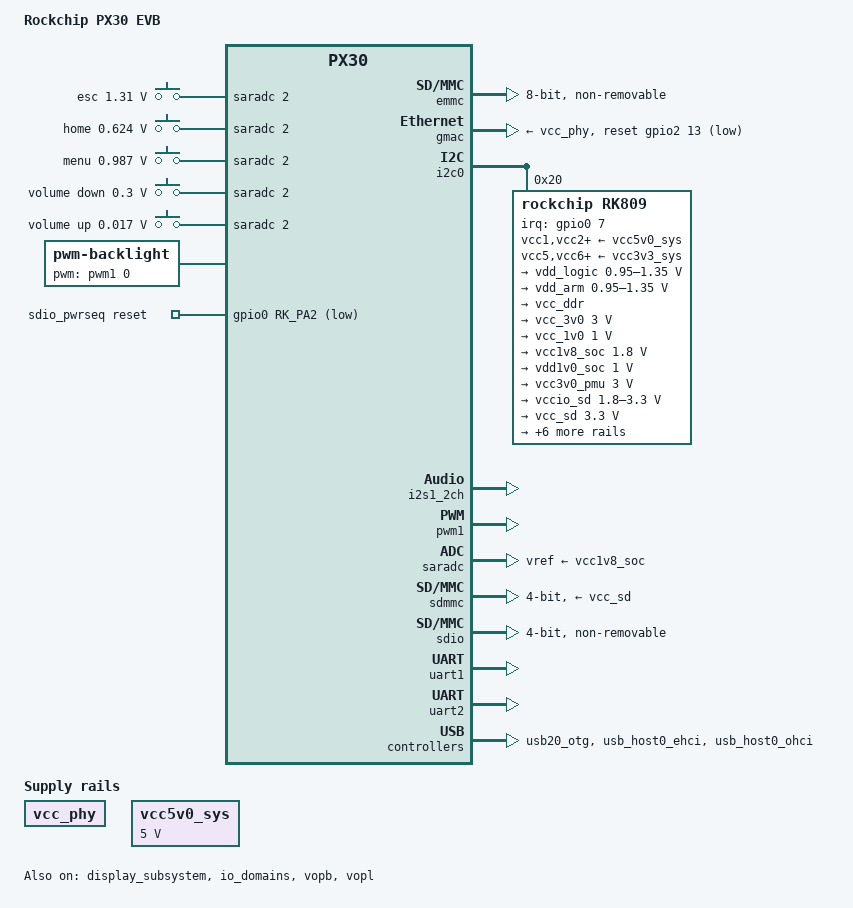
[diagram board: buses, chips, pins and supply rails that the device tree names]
// SPDX-License-Identifier: (GPL-2.0+ OR MIT)
/*
 * Copyright (c) 2018 Fuzhou Rockchip Electronics Co., Ltd
 */

/dts-v1/;
#include <dt-bindings/gpio/gpio.h>
#include <dt-bindings/input/input.h>
#include <dt-bindings/pinctrl/rockchip.h>
#include "px30.dtsi"

/ {
	model = "Rockchip PX30 EVB";
	compatible = "rockchip,px30-evb", "rockchip,px30";

	adc-keys {
		compatible = "adc-keys";
		io-channels = <&saradc 2>;
		io-channel-names = "buttons";
		poll-interval = <100>;
		keyup-threshold-microvolt = <1800000>;

		esc-key {
			linux,code = <KEY_ESC>;
			label = "esc";
			press-threshold-microvolt = <1310000>;
		};

		home-key {
			linux,code = <KEY_HOME>;
			label = "home";
			press-threshold-microvolt = <624000>;
		};

		menu-key {
			linux,code = <KEY_MENU>;
			label = "menu";
			press-threshold-microvolt = <987000>;
		};

		vol-down-key {
			linux,code = <KEY_VOLUMEDOWN>;
			label = "volume down";
			press-threshold-microvolt = <300000>;
		};

		vol-up-key {
			linux,code = <KEY_VOLUMEUP>;
			label = "volume up";
			press-threshold-microvolt = <17000>;
		};
	};

	backlight: backlight {
		compatible = "pwm-backlight";
		pwms = <&pwm1 0 25000 0>;
		brightness-levels = <0 255>;
		num-interpolated-steps = <255>;
		default-brightness-level = <200>;
	};

	chosen {
		bootargs = "console=ttyS2,1500000n8";
	};

	sdio_pwrseq: sdio-pwrseq {
		compatible = "mmc-pwrseq-simple";
		pinctrl-names = "default";
		pinctrl-0 = <&wifi_enable_h>;

		/*
		 * On the module itself this is one of these (depending
		 * on the actual card populated):
		 * - SDIO_RESET_L_WL_REG_ON
		 * - PDN (power down when low)
		 */
		reset-gpios = <&gpio0 RK_PA2 GPIO_ACTIVE_LOW>; /* GPIO3_A4 */
	};

	vcc_phy: vcc-phy-regulator {
		compatible = "regulator-fixed";
		regulator-name = "vcc_phy";
		regulator-always-on;
		regulator-boot-on;
	};

	vcc5v0_sys: vccsys {
		compatible = "regulator-fixed";
		regulator-name = "vcc5v0_sys";
		regulator-always-on;
		regulator-boot-on;
		regulator-min-microvolt = <5000000>;
		regulator-max-microvolt = <5000000>;
	};
};

&cpu0 {
	cpu-supply = <&vdd_arm>;
};

&display_subsystem {
	status = "okay";
};

&emmc {
	bus-width = <8>;
	cap-mmc-highspeed;
	mmc-hs200-1_8v;
	non-removable;
	status = "okay";
};

&gmac {
	phy-supply = <&vcc_phy>;
	clock_in_out = "output";
	snps,reset-gpio = <&gpio2 13 GPIO_ACTIVE_LOW>;
	snps,reset-active-low;
	snps,reset-delays-us = <0 50000 50000>;
	status = "okay";
};

&i2c0 {
	status = "okay";

	rk809: pmic@20 {
		compatible = "rockchip,rk809";
		reg = <0x20>;
		interrupt-parent = <&gpio0>;
		interrupts = <7 IRQ_TYPE_LEVEL_LOW>;
		pinctrl-names = "default";
		pinctrl-0 = <&pmic_int>;
		rockchip,system-power-controller;
		wakeup-source;
		#clock-cells = <1>;
		clock-output-names = "rk808-clkout1", "rk808-clkout2";

		vcc1-supply = <&vcc5v0_sys>;
		vcc2-supply = <&vcc5v0_sys>;
		vcc3-supply = <&vcc5v0_sys>;
		vcc4-supply = <&vcc5v0_sys>;
		vcc5-supply = <&vcc3v3_sys>;
		vcc6-supply = <&vcc3v3_sys>;
		vcc7-supply = <&vcc3v3_sys>;
		vcc8-supply = <&vcc3v3_sys>;
		vcc9-supply = <&vcc5v0_sys>;

		pwrkey {
			status = "okay";
		};

		regulators {
			vdd_logic: DCDC_REG1 {
				regulator-always-on;
				regulator-boot-on;
				regulator-min-microvolt = <950000>;
				regulator-max-microvolt = <1350000>;
				regulator-ramp-delay = <6001>;
				regulator-initial-mode = <0x2>;
				regulator-name = "vdd_logic";
				regulator-state-mem {
					regulator-on-in-suspend;
					regulator-suspend-microvolt = <950000>;
				};
			};

			vdd_arm: DCDC_REG2 {
				regulator-always-on;
				regulator-boot-on;
				regulator-min-microvolt = <950000>;
				regulator-max-microvolt = <1350000>;
				regulator-ramp-delay = <6001>;
				regulator-initial-mode = <0x2>;
				regulator-name = "vdd_arm";
				regulator-state-mem {
					regulator-off-in-suspend;
					regulator-suspend-microvolt = <950000>;
				};
			};

			vcc_ddr: DCDC_REG3 {
				regulator-always-on;
				regulator-boot-on;
				regulator-name = "vcc_ddr";
				regulator-initial-mode = <0x2>;
				regulator-state-mem {
					regulator-on-in-suspend;
				};
			};

			vcc_3v0: DCDC_REG4 {
				regulator-always-on;
				regulator-boot-on;
				regulator-min-microvolt = <3000000>;
				regulator-max-microvolt = <3000000>;
				regulator-initial-mode = <0x2>;
				regulator-name = "vcc_3v0";
				regulator-state-mem {
					regulator-on-in-suspend;
					regulator-suspend-microvolt = <3000000>;
				};
			};

			vcc_1v0: LDO_REG1 {
				regulator-always-on;
				regulator-boot-on;
				regulator-min-microvolt = <1000000>;
				regulator-max-microvolt = <1000000>;
				regulator-name = "vcc_1v0";
				regulator-state-mem {
					regulator-on-in-suspend;
					regulator-suspend-microvolt = <1000000>;
				};
			};

			vcc1v8_soc: LDO_REG2 {
				regulator-always-on;
				regulator-boot-on;
				regulator-min-microvolt = <1800000>;
				regulator-max-microvolt = <1800000>;

				regulator-name = "vcc1v8_soc";
				regulator-state-mem {
					regulator-on-in-suspend;
					regulator-suspend-microvolt = <1800000>;
				};
			};

			vdd1v0_soc: LDO_REG3 {
				regulator-always-on;
				regulator-boot-on;
				regulator-min-microvolt = <1000000>;
				regulator-max-microvolt = <1000000>;

				regulator-name = "vcc1v0_soc";
				regulator-state-mem {
					regulator-on-in-suspend;
					regulator-suspend-microvolt = <1000000>;
				};
			};

			vcc3v0_pmu: LDO_REG4 {
				regulator-always-on;
				regulator-boot-on;
				regulator-min-microvolt = <3000000>;
				regulator-max-microvolt = <3000000>;

				regulator-name = "vcc3v0_pmu";
				regulator-state-mem {
					regulator-on-in-suspend;
					regulator-suspend-microvolt = <3000000>;

				};
			};

			vccio_sd: LDO_REG5 {
				regulator-always-on;
				regulator-boot-on;
				regulator-min-microvolt = <1800000>;
				regulator-max-microvolt = <3300000>;

				regulator-name = "vccio_sd";
				regulator-state-mem {
					regulator-on-in-suspend;
					regulator-suspend-microvolt = <3300000>;
				};
			};

			vcc_sd: LDO_REG6 {
				regulator-min-microvolt = <3300000>;
				regulator-max-microvolt = <3300000>;

				regulator-name = "vcc_sd";
				regulator-state-mem {
					regulator-on-in-suspend;
					regulator-suspend-microvolt = <3300000>;

				};
			};

			vcc2v8_dvp: LDO_REG7 {
				regulator-always-on;
				regulator-boot-on;
				regulator-min-microvolt = <2800000>;
				regulator-max-microvolt = <2800000>;

				regulator-name = "vcc2v8_dvp";
				regulator-state-mem {
					regulator-off-in-suspend;
					regulator-suspend-microvolt = <2800000>;
				};
			};

			vcc1v8_dvp: LDO_REG8 {
				regulator-always-on;
				regulator-boot-on;
				regulator-min-microvolt = <1800000>;
				regulator-max-microvolt = <1800000>;

				regulator-name = "vcc1v8_dvp";
				regulator-state-mem {
					regulator-on-in-suspend;
					regulator-suspend-microvolt = <1800000>;
				};
			};

			vdd1v5_dvp: LDO_REG9 {
				regulator-always-on;
				regulator-boot-on;
				regulator-min-microvolt = <1500000>;
				regulator-max-microvolt = <1500000>;

				regulator-name = "vdd1v5_dvp";
				regulator-state-mem {
					regulator-off-in-suspend;
					regulator-suspend-microvolt = <1500000>;
				};
			};

			vcc3v3_sys: DCDC_REG5 {
				regulator-always-on;
				regulator-boot-on;
				regulator-min-microvolt = <3300000>;
				regulator-max-microvolt = <3300000>;
				regulator-name = "vcc3v3_sys";
				regulator-state-mem {
					regulator-on-in-suspend;
					regulator-suspend-microvolt = <3300000>;
				};
			};

			vcc3v3_lcd: SWITCH_REG1 {
				regulator-boot-on;
				regulator-name = "vcc3v3_lcd";
			};

			vcc5v0_host: SWITCH_REG2 {
				regulator-always-on;
				regulator-boot-on;
				regulator-name = "vcc5v0_host";
			};
		};
	};
};

&i2s1_2ch {
	status = "okay";
	#sound-dai-cells = <0>;
};

&io_domains {
	status = "okay";

	vccio1-supply = <&vcc1v8_soc>;
	vccio2-supply = <&vccio_sd>;
	vccio3-supply = <&vcc_3v0>;
	vccio4-supply = <&vcc3v0_pmu>;
	vccio5-supply = <&vcc_3v0>;
};

&pinctrl {
	headphone {
		hp_det: hp-det {
			rockchip,pins = <2 RK_PB0 RK_FUNC_GPIO &pcfg_pull_down>;
		};
	};

	pmic {
		pmic_int: pmic_int {
			rockchip,pins =
				<0 RK_PA7 RK_FUNC_GPIO &pcfg_pull_up>;
		};

		soc_slppin_gpio: soc_slppin_gpio {
			rockchip,pins =
				<0 RK_PA4 RK_FUNC_GPIO &pcfg_output_low>;
		};

		soc_slppin_slp: soc_slppin_slp {
			rockchip,pins =
				<0 RK_PA4 RK_FUNC_1 &pcfg_pull_none>;
		};

		soc_slppin_rst: soc_slppin_rst {
			rockchip,pins =
				<0 RK_PA4 RK_FUNC_2 &pcfg_pull_none>;
		};
	};

	sdio-pwrseq {
		wifi_enable_h: wifi-enable-h {
			rockchip,pins = <0 RK_PA2 RK_FUNC_GPIO &pcfg_pull_none>;
		};
	};
};

&pmu_io_domains {
	status = "okay";

	pmuio1-supply = <&vcc3v0_pmu>;
	pmuio2-supply = <&vcc3v0_pmu>;
};

&pwm1 {
	status = "okay";
};

&saradc {
	status = "okay";
	vref-supply = <&vcc1v8_soc>;
};

&sdmmc {
	bus-width = <4>;
	cap-mmc-highspeed;
	cap-sd-highspeed;
	card-detect-delay = <800>;
	/*cd-gpios = <&gpio2 4 GPIO_ACTIVE_HIGH>; [> CD GPIO <]*/
	sd-uhs-sdr12;
	sd-uhs-sdr25;
	sd-uhs-sdr50;
	sd-uhs-sdr104;
	vqmmc-supply = <&vccio_sd>;
	vmmc-supply = <&vcc_sd>;
	status = "okay";
};

&sdio {
	bus-width = <4>;
	cap-sd-highspeed;
	keep-power-in-suspend;
	non-removable;
	mmc-pwrseq = <&sdio_pwrseq>;
	sd-uhs-sdr104;
	status = "okay";
};

&uart1 {
	pinctrl-names = "default";
	pinctrl-0 = <&uart1_xfer &uart1_cts>;
	status = "okay";
};

&uart2 {
	status = "okay";
};

&usb20_otg {
	status = "okay";
};

&usb_host0_ehci {
	status = "okay";
};

&usb_host0_ohci {
	status = "okay";
};

&vopb {
	status = "okay";
};

&vopb_mmu {
	status = "okay";
};

&vopl {
	status = "okay";
};

&vopl_mmu {
	status = "okay";
};
